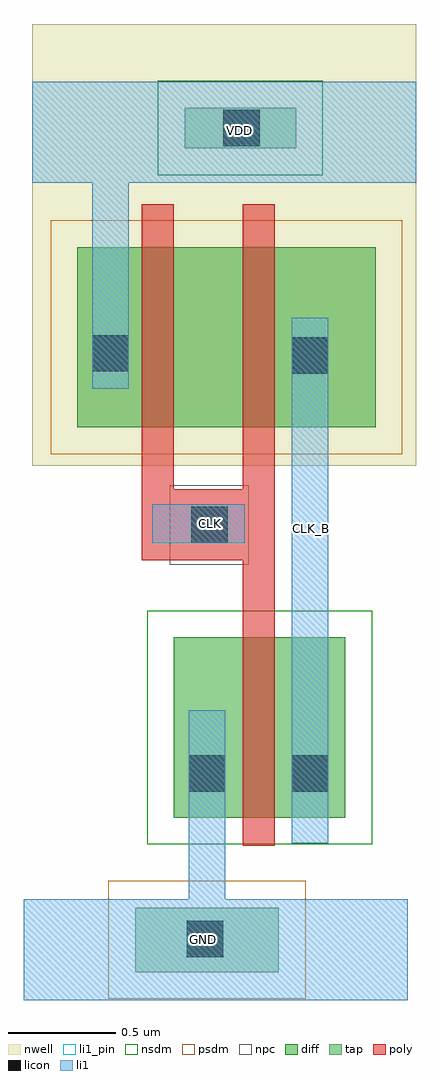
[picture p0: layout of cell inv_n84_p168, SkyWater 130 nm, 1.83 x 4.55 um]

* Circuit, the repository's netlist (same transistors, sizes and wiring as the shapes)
* NGSPICE file created from inv_n84_p168.ext - technology: sky130A

.subckt inv_n84_p168 CLK CLK_B VDD GND
X0 CLK_B CLK GND GND sky130_fd_pr__nfet_01v8 ad=0.277 pd=2.34 as=0.269 ps=2.32 w=0.84 l=0.15
X1 CLK_B CLK a_n182_302# VDD sky130_fd_pr__pfet_01v8 ad=0.395 pd=2.62 as=0.134 ps=1.16 w=0.84 l=0.15
X2 a_n182_302# CLK VDD VDD sky130_fd_pr__pfet_01v8 ad=0.134 pd=1.16 as=0.252 ps=2.28 w=0.84 l=0.15
.ends

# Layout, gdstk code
import gdstk
lib = gdstk.Library(unit=1e-6, precision=1e-09)
def R(c, l, rs):  # rectangles x0, y0, x1, y1
    for r in rs: c.add(gdstk.rectangle(r[:2], r[2:], *l))
nwell = (64, 20)
diff = (65, 20)
tap = (65, 44)
poly = (66, 20)
licon = (66, 44)
li1_pin = (67, 16)
li1 = (67, 20)
nsdm = (93, 44)
psdm = (94, 20)
npc = (95, 20)

inv_n84_p168 = lib.new_cell('inv_n84_p168')
R(inv_n84_p168, nwell, [(-1.57,1.33,0.22,3.39)])
R(inv_n84_p168, diff, [(-0.91,-0.31,-0.11,0.53), (-1.36,1.51,0.03,2.35)])
R(inv_n84_p168, tap, [(-1.09,-1.03,-0.42,-0.73), (-0.86,2.81,-0.34,3)])
R(inv_n84_p168, poly, [(-0.59,-0.44,-0.44,0.89), (-1.06,0.89,-0.44,1.22), (-1.06,1.22,-0.91,2.55), (-0.59,1.22,-0.44,2.55)])
R(inv_n84_p168, licon, [(-0.85,-0.96,-0.68,-0.79), (-0.84,-0.19,-0.67,-0.02), (-0.36,-0.19,-0.19,-0.02), (-0.83,0.97,-0.66,1.14), (-0.36,1.76,-0.19,1.93), (-1.29,1.77,-1.12,1.94), (-0.68,2.82,-0.51,2.99)])
R(inv_n84_p168, li1_pin, [(-0.61,2.89,-0.6,2.9)])
R(inv_n84_p168, li1, [(-1.61,-1.16,0.18,-0.69), (-0.84,-0.69,-0.67,0.19), (-0.36,-0.43,-0.19,2.02), (-1.01,0.97,-0.58,1.15), (-1.29,1.69,-1.12,2.65), (-1.57,2.65,0.22,3.12)])
R(inv_n84_p168, nsdm, [(-1.035,-0.435,0.015,0.655), (-0.985,2.685,-0.215,3.125)])
R(inv_n84_p168, psdm, [(-1.215,-1.155,-0.295,-0.605), (-1.485,1.385,0.155,2.475)])
R(inv_n84_p168, npc, [(-0.93,0.87,-0.56,1.24)])
inv_n84_p168.add(gdstk.Label('CLK', (-0.74,1.06), layer=67, texttype=5))
inv_n84_p168.add(gdstk.Label('CLK_B', (-0.27,1.04), layer=67, texttype=5))
inv_n84_p168.add(gdstk.Label('VDD', (-0.605,2.895), layer=67, texttype=5))
inv_n84_p168.add(gdstk.Label('GND', (-0.77,-0.88), layer=67, texttype=5))

lib.write_gds('inv_n84_p168.gds')
